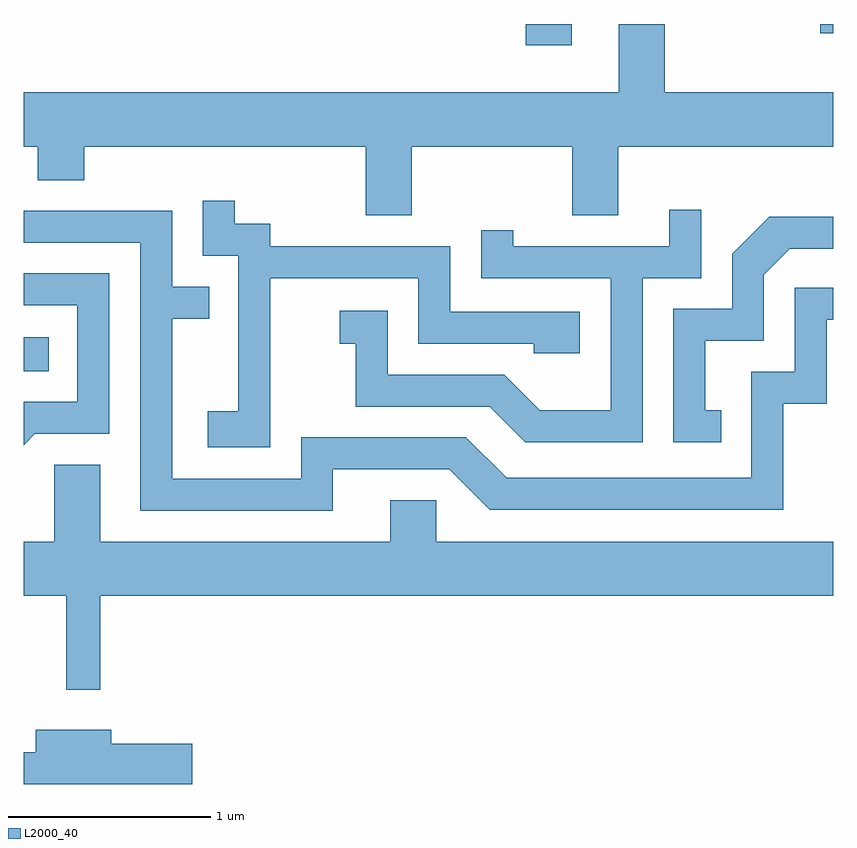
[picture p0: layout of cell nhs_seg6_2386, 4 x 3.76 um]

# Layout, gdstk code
import gdstk
lib = gdstk.Library(unit=1e-6, precision=1e-09)
def R(c, l, rs):  # rectangles x0, y0, x1, y1
    for r in rs: c.add(gdstk.rectangle(r[:2], r[2:], *l))
def P(c, l, *ps):  # polygons
    for p in ps: c.add(gdstk.Polygon(p, *l))
L2000_40 = (2000, 40)

nhs_seg6_2386 = lib.new_cell('nhs_seg6_2386')
R(nhs_seg6_2386, L2000_40, [(257.611,1584.446,257.733,1584.614), (260.091,1586.056,260.319,1586.162), (261.546,1586.116,261.611,1586.162)])
P(nhs_seg6_2386, L2000_40, [(259.529,1585.556),(260.321,1585.556),(260.321,1585.216),(260.549,1585.216),(260.549,1585.556),(261.611,1585.556),(261.611,1585.824),(260.779,1585.824),(260.779,1586.162),(260.551,1586.162),(260.551,1585.824),(257.611,1585.824),(257.611,1585.556),(257.681,1585.556),(257.681,1585.391),(257.909,1585.391),(257.909,1585.556),(259.301,1585.556),(259.301,1585.216),(259.529,1585.216)],
  [(258.829,1584.906),(259.561,1584.906),(259.561,1584.581),(260.131,1584.581),(260.131,1584.536),(260.359,1584.536),(260.359,1584.739),(259.719,1584.739),(259.719,1585.064),(258.829,1585.064),(258.829,1585.174),(258.654,1585.174),(258.654,1585.288),(258.496,1585.288),(258.496,1585.016),(258.671,1585.016),(258.671,1584.249),(258.521,1584.249),(258.521,1584.071),(258.829,1584.071)],
  [(260.669,1584.906),(260.959,1584.906),(260.959,1585.243),(260.801,1585.243),(260.801,1585.064),(260.029,1585.064),(260.029,1585.143),(259.871,1585.143),(259.871,1584.906),(260.511,1584.906),(260.511,1584.254),(260.162,1584.254),(259.986,1584.429),(259.409,1584.429),(259.409,1584.744),(259.173,1584.744),(259.173,1584.581),(259.251,1584.581),(259.251,1584.271),(259.914,1584.271),(260.089,1584.096),(260.669,1584.096)],
  [(259.139,1583.961),(259.714,1583.961),(259.914,1583.761),(261.364,1583.761),(261.364,1584.286),(261.579,1584.286),(261.579,1584.701),(261.611,1584.701),(261.611,1584.859),(261.421,1584.859),(261.421,1584.444),(261.206,1584.444),(261.206,1583.919),(259.997,1583.919),(259.796,1584.119),(258.981,1584.119),(258.981,1583.914),(258.344,1583.914),(258.344,1584.706),(258.528,1584.706),(258.528,1584.864),(258.344,1584.864),(258.344,1585.239),(257.611,1585.239),(257.611,1585.081),(258.186,1585.081),(258.186,1583.756),(259.139,1583.756)],
  [(261.058,1584.254),(260.979,1584.254),(260.979,1584.596),(261.269,1584.596),(261.269,1584.924),(261.397,1585.051),(261.611,1585.051),(261.611,1585.209),(261.294,1585.209),(261.111,1585.027),(261.111,1584.754),(260.821,1584.754),(260.821,1584.096),(261.058,1584.096)],
  [(257.666,1584.136),(258.034,1584.136),(258.034,1584.929),(257.611,1584.929),(257.611,1584.771),(257.876,1584.771),(257.876,1584.294),(257.611,1584.294),(257.611,1584.081)],
  [(257.989,1583.336),(261.611,1583.336),(261.611,1583.604),(259.649,1583.604),(259.649,1583.809),(259.421,1583.809),(259.421,1583.604),(257.989,1583.604),(257.989,1583.984),(257.761,1583.984),(257.761,1583.604),(257.611,1583.604),(257.611,1583.336),(257.821,1583.336),(257.821,1582.873),(257.989,1582.873)],
  [(258.444,1582.604),(258.044,1582.604),(258.044,1582.674),(257.671,1582.674),(257.671,1582.564),(257.611,1582.564),(257.611,1582.406),(258.444,1582.406)])

lib.write_gds('nhs_seg6_2386.gds')
